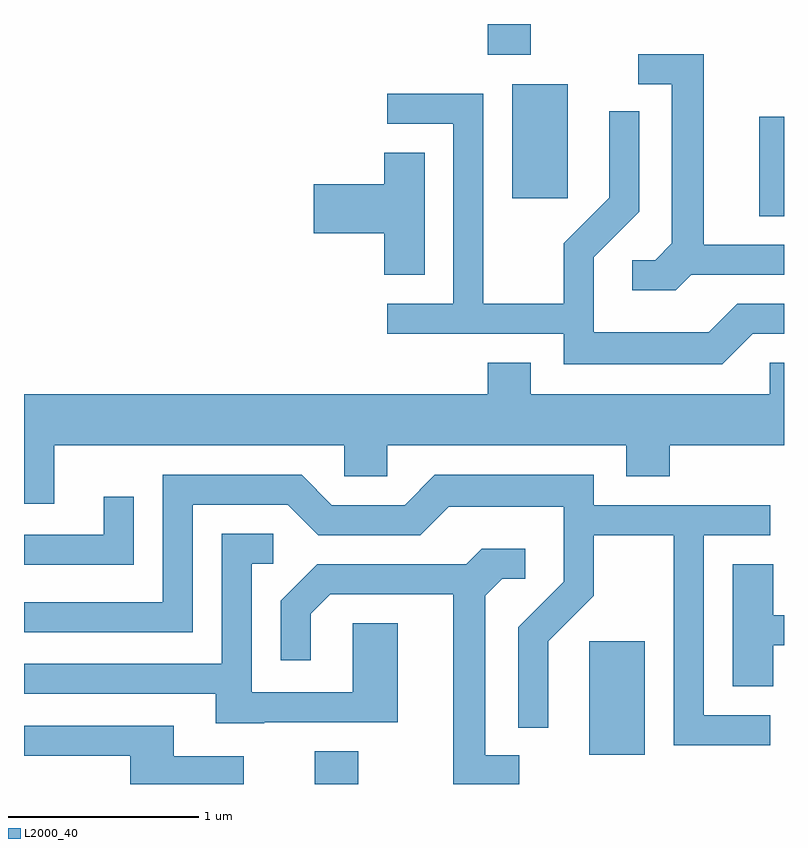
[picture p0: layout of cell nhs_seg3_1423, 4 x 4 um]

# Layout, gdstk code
import gdstk
lib = gdstk.Library(unit=1e-6, precision=1e-09)
def R(c, l, rs):  # rectangles x0, y0, x1, y1
    for r in rs: c.add(gdstk.rectangle(r[:2], r[2:], *l))
def P(c, l, *ps):  # polygons
    for p in ps: c.add(gdstk.Polygon(p, *l))
L2000_40 = (2000, 40)

nhs_seg3_1423 = lib.new_cell('nhs_seg3_1423')
R(nhs_seg3_1423, L2000_40, [(227.141,1241.892,227.369,1242.064), (228.586,1242.046,228.879,1242.644), (229.481,1244.881,229.611,1245.404), (228.181,1244.976,228.474,1245.574), (228.051,1245.731,228.279,1245.892)])
P(nhs_seg3_1423, L2000_40, [(229.122,1244.571),(229.611,1244.571),(229.611,1244.729),(229.189,1244.729),(229.189,1245.734),(228.843,1245.734),(228.843,1245.576),(229.021,1245.576),(229.021,1244.737),(228.934,1244.649),(228.813,1244.649),(228.813,1244.491),(229.042,1244.491)],
  [(229.447,1244.261),(229.611,1244.261),(229.611,1244.419),(229.364,1244.419),(229.214,1244.269),(228.609,1244.269),(228.609,1244.664),(228.849,1244.904),(228.849,1245.433),(228.691,1245.433),(228.691,1244.977),(228.451,1244.737),(228.451,1244.419),(228.029,1244.419),(228.029,1245.524),(227.523,1245.524),(227.523,1245.366),(227.871,1245.366),(227.871,1244.419),(227.523,1244.419),(227.523,1244.261),(228.451,1244.261),(228.451,1244.101),(229.287,1244.101)],
  [(227.719,1245.214),(227.506,1245.214),(227.506,1245.049),(227.136,1245.049),(227.136,1244.791),(227.506,1244.791),(227.506,1244.571),(227.719,1244.571)],
  [(225.769,1243.676),(227.296,1243.676),(227.296,1243.511),(227.524,1243.511),(227.524,1243.676),(228.781,1243.676),(228.781,1243.511),(229.009,1243.511),(229.009,1243.676),(229.611,1243.676),(229.611,1244.109),(229.536,1244.109),(229.536,1243.944),(228.279,1243.944),(228.279,1244.109),(228.051,1244.109),(228.051,1243.944),(225.611,1243.944),(225.611,1243.366),(225.769,1243.366)],
  [(229.538,1242.254),(229.189,1242.254),(229.189,1243.201),(229.538,1243.201),(229.538,1243.359),(228.609,1243.359),(228.609,1243.519),(227.774,1243.519),(227.614,1243.359),(227.232,1243.359),(227.072,1243.519),(226.341,1243.519),(226.341,1242.849),(225.611,1242.849),(225.611,1242.691),(226.499,1242.691),(226.499,1243.361),(226.999,1243.361),(227.159,1243.201),(227.697,1243.201),(227.847,1243.351),(228.451,1243.351),(228.451,1242.957),(228.211,1242.717),(228.211,1242.188),(228.369,1242.188),(228.369,1242.644),(228.609,1242.884),(228.609,1243.201),(229.031,1243.201),(229.031,1242.096),(229.538,1242.096)],
  [(226.189,1243.403),(226.031,1243.403),(226.031,1243.204),(225.611,1243.204),(225.611,1243.046),(226.189,1243.046)],
  [(226.875,1242.216),(227.579,1242.216),(227.579,1242.739),(227.341,1242.739),(227.341,1242.374),(226.809,1242.374),(226.809,1243.051),(226.923,1243.051),(226.923,1243.209),(226.651,1243.209),(226.651,1242.524),(225.611,1242.524),(225.611,1242.366),(226.621,1242.366),(226.621,1242.211),(226.875,1242.211)],
  [(228.218,1242.044),(228.039,1242.044),(228.039,1242.884),(228.127,1242.971),(228.248,1242.971),(228.248,1243.129),(228.019,1243.129),(227.939,1243.049),(227.154,1243.049),(226.961,1242.857),(226.961,1242.543),(227.119,1242.543),(227.119,1242.789),(227.222,1242.891),(227.871,1242.891),(227.871,1241.892),(228.218,1241.892)],
  [(229.554,1242.621),(229.611,1242.621),(229.611,1242.779),(229.554,1242.779),(229.554,1243.049),(229.341,1243.049),(229.341,1242.406),(229.554,1242.406)],
  [(226.768,1242.039),(226.399,1242.039),(226.399,1242.199),(225.611,1242.199),(225.611,1242.041),(226.171,1242.041),(226.171,1241.892),(226.768,1241.892)])

lib.write_gds('nhs_seg3_1423.gds')
